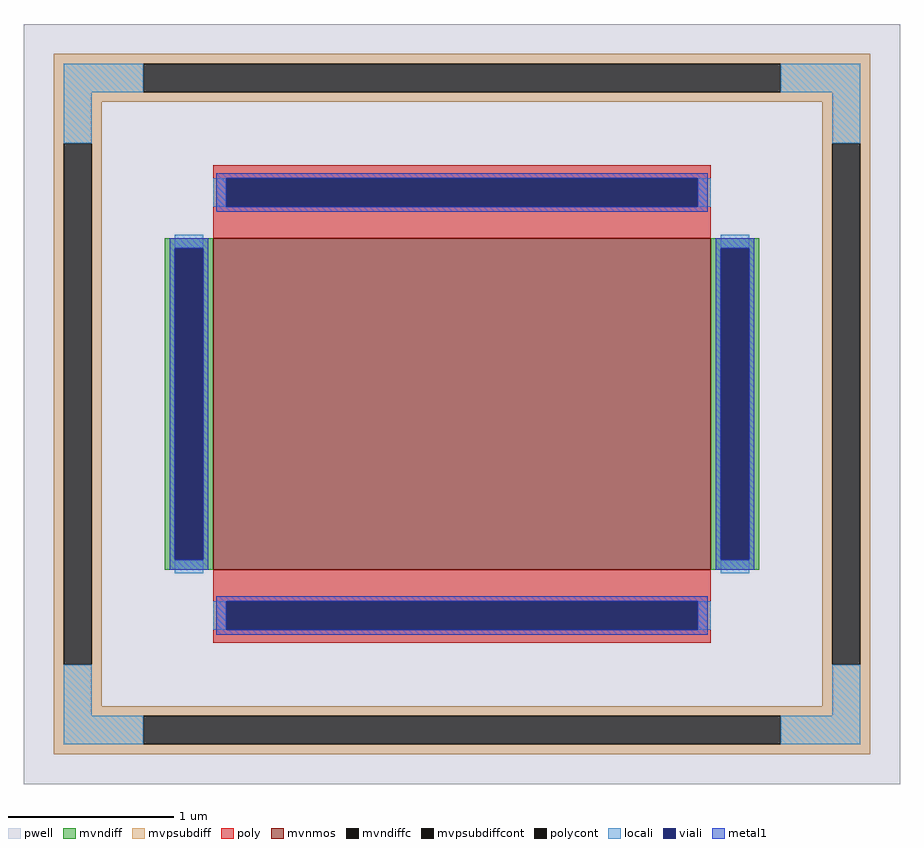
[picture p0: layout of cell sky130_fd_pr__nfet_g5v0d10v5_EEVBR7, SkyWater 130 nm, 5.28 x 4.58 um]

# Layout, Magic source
magic
tech sky130A
<< pwell >>
rect -264 -229 264 229
<< mvnmos >>
rect -150 -100 150 100
<< mvndiff >>
rect -179 94 -150 100
rect -179 -94 -173 94
rect -156 -94 -150 94
rect -179 -100 -150 -94
rect 150 94 179 100
rect 150 -94 156 94
rect 173 -94 179 94
rect 150 -100 179 -94
<< mvndiffc >>
rect -173 -94 -156 94
rect 156 -94 173 94
<< mvpsubdiff >>
rect -246 205 246 211
rect -246 188 -192 205
rect 192 188 246 205
rect -246 182 246 188
rect -246 157 -217 182
rect -246 -157 -240 157
rect -223 -157 -217 157
rect 217 157 246 182
rect -246 -182 -217 -157
rect 217 -157 223 157
rect 240 -157 246 157
rect 217 -182 246 -157
rect -246 -188 246 -182
rect -246 -205 -192 -188
rect 192 -205 246 -188
rect -246 -211 246 -205
<< mvpsubdiffcont >>
rect -192 188 192 205
rect -240 -157 -223 157
rect 223 -157 240 157
rect -192 -205 192 -188
<< poly >>
rect -150 136 150 144
rect -150 119 -142 136
rect 142 119 150 136
rect -150 100 150 119
rect -150 -119 150 -100
rect -150 -136 -142 -119
rect 142 -136 150 -119
rect -150 -144 150 -136
<< polycont >>
rect -142 119 142 136
rect -142 -136 142 -119
<< locali >>
rect -240 188 -192 205
rect 192 188 240 205
rect -240 157 -223 188
rect 223 157 240 188
rect -150 119 -142 136
rect 142 119 150 136
rect -173 94 -156 102
rect -173 -102 -156 -94
rect 156 94 173 102
rect 156 -102 173 -94
rect -150 -136 -142 -119
rect 142 -136 150 -119
rect -240 -188 -223 -157
rect 223 -188 240 -157
rect -240 -205 -192 -188
rect 192 -205 240 -188
<< viali >>
rect -142 119 142 136
rect -173 -94 -156 94
rect 156 -94 173 94
rect -142 -136 142 -119
<< metal1 >>
rect -148 136 148 139
rect -148 119 -142 136
rect 142 119 148 136
rect -148 116 148 119
rect -176 94 -153 100
rect -176 -94 -173 94
rect -156 -94 -153 94
rect -176 -100 -153 -94
rect 153 94 176 100
rect 153 -94 156 94
rect 173 -94 176 94
rect 153 -100 176 -94
rect -148 -119 148 -116
rect -148 -136 -142 -119
rect 142 -136 148 -119
rect -148 -139 148 -136
<< properties >>
string FIXED_BBOX -231 -196 231 196
string gencell sky130_fd_pr__nfet_g5v0d10v5
string library sky130
string parameters w 2.0 l 3.0 m 1 nf 1 diffcov 100 polycov 100 guard 1 glc 1 grc 1 gtc 1 gbc 1 tbcov 100 rlcov 100 topc 1 botc 1 poverlap 0 doverlap 1 lmin 0.50 wmin 0.42 compatible {sky130_fd_pr__nfet_01v8 sky130_fd_pr__nfet_01v8_lvt  sky130_fd_bs_flash__special_sonosfet_star  sky130_fd_pr__nfet_g5v0d10v5 sky130_fd_pr__nfet_05v0_nvt  sky130_fd_pr__nfet_03v3_nvt} full_metal 1 viasrc 100 viadrn 100 viagate 100 viagb 0 viagr 0 viagl 0 viagt 0
<< end >>
